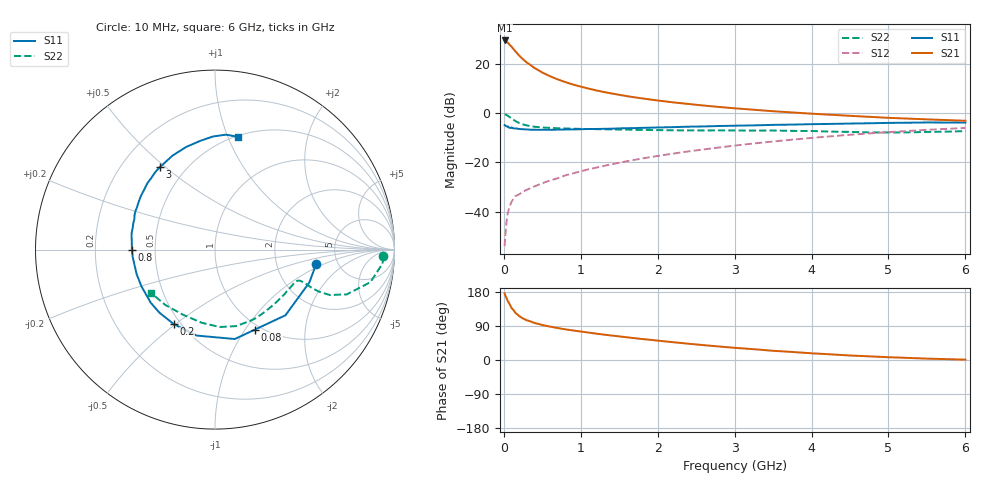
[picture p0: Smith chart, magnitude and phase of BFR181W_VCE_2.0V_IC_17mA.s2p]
! (c) 2017  Infineon Technologies AG, Munich
! Infineon Technologies  Discrete & RF Semiconductors
! BFR181W
! VCE =  2.0 V,  IC =  17 mA
! Common Emitter S-Parameters:  Jan 2017
# GHz  S  MA  R  50
!  f  S11  S21  S12  S22
! GHz  MAG  ANG  MAG  ANG  MAG  ANG  MAG  ANG
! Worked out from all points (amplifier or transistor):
!   77 points, 10 MHz to 6 GHz, reference 50 ohm
!   highest |S21| = 29.4 dB at 10 MHz (marker M1)
!   |S21| within 3 dB of that: start of sweep to 112.9 MHz
!   unconditionally stable (mu >= 1): 407.1 MHz to 2.839 GHz
!   at 130 MHz: K = 0.49, MSG = 30.1 dB, |S12| = -34.5 dB
!   at 2.2 GHz: K = 1.11, MAG = 8.4 dB, |S12| = -16.5 dB
!   at 6 GHz: K = 0.94, MSG = 1.5 dB, |S12| = -6.1 dB
!   S11 on the Smith chart (normalised r, x): 10 MHz: 3.42, -0.83; 80 MHz: 0.94, -1.11; 200 MHz: 0.46, -0.49; 800 MHz: 0.37, -0.00; 3 GHz: 0.36, +0.48; 6 GHz: 0.51, +1.09
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0.01  0.5691 -8.3  29.54 175.7  0.002 85.4  0.9382 -2.3
0.02  0.5566 -19.2  28.95 169.9  0.0034 84.9  0.9368 -4.8
0.05  0.5366 -43.0  26.94 155.9  0.0092 72.9  0.8849 -11.8
0.08  0.4981 -63.4  23.72 145.6  0.0132 65.8  0.8175 -15.8
0.1  0.5102 -77.5  22.1 137.2  0.0159 63.1  0.775 -18.8
0.15  0.4897 -102.1  17.84 124.8  0.0207 57.7  0.6867 -21.6
0.2  0.4745 -118.8  14.57 115.8  0.0225 56.4  0.6257 -22.0
0.25  0.4686 -131.3  12.25 109.5  0.0256 56.1  0.5872 -21.7
0.3  0.4644 -140.4  10.5 104.7  0.0278 56.8  0.5589 -21.1
0.4  0.4581 -153.3  8.148 97.6  0.0326 60.6  0.5269 -20.3
0.5  0.4575 -162.6  6.607 92.4  0.0377 63.9  0.5092 -20.1
0.6  0.4567 -169.4  5.565 88.1  0.0428 65.0  0.4988 -20.2
0.7  0.4604 -175.0  4.804 84.4  0.0477 68.0  0.4911 -20.7
0.8  0.4634 -180.0  4.233 80.9  0.0545 69.5  0.4854 -21.5
1.1  0.4736 168.6  3.126 72.4  0.0723 73.1  0.474 -24.9
1.5  0.4882 156.7  2.333 62.3  0.0982 74.7  0.4617 -31.0
2.1  0.5129 141.9  1.717 49.1  0.1424 74.2  0.4479 -43.0
3  0.5528 123.8  1.246 32.1  0.2183 69.6  0.4431 -63.6
3.1  0.5559 121.8  1.213 30.7  0.2275 68.7  0.4416 -65.8
4.1  0.5966 104.1  0.95 16.6  0.3224 59.7  0.4266 -89.2
5.1  0.6321 89.8  0.787 6.6  0.4188 48.4  0.4037 -119.4
6  0.6413 78.4  0.696 0.9  0.498 37.5  0.4299 -145.6
